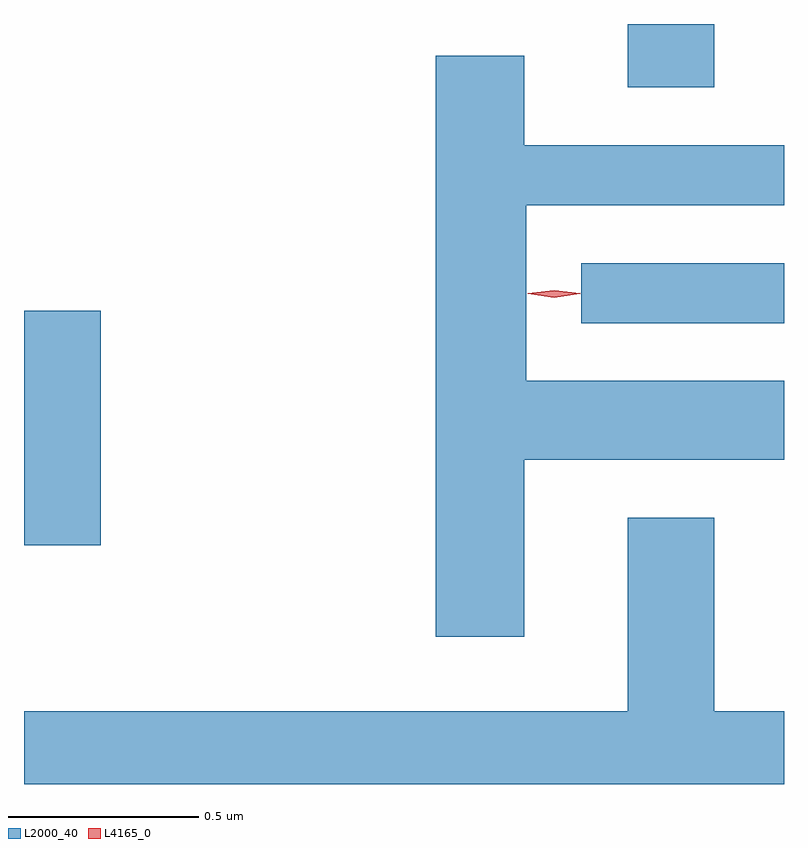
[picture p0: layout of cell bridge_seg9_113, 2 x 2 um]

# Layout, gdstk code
import gdstk
lib = gdstk.Library(unit=1e-6, precision=1e-09)
def R(c, l, rs):  # rectangles x0, y0, x1, y1
    for r in rs: c.add(gdstk.rectangle(r[:2], r[2:], *l))
def P(c, l, *ps):  # polygons
    for p in ps: c.add(gdstk.Polygon(p, *l))
L2000_40 = (2000, 40)
L4165_0 = (4165, 0)

bridge_seg9_113 = lib.new_cell('bridge_seg9_113')
R(bridge_seg9_113, L2000_40, [(1821.122,1968.101,1821.324,1968.719), (1822.588,1968.686,1823.122,1968.844), (1822.711,1969.306,1822.939,1969.473)])
P(bridge_seg9_113, L2000_40, [(1822.439,1968.326),(1823.122,1968.326),(1823.122,1968.534),(1822.444,1968.534),(1822.444,1968.996),(1823.122,1968.996),(1823.122,1969.154),(1822.439,1969.154),(1822.439,1969.389),(1822.206,1969.389),(1822.206,1967.861),(1822.439,1967.861)],
  [(1823.122,1967.664),(1822.939,1967.664),(1822.939,1968.174),(1822.711,1968.174),(1822.711,1967.664),(1821.122,1967.664),(1821.122,1967.473),(1823.122,1967.473)])
P(bridge_seg9_113, L4165_0, [(1822.517,1968.753),(1822.448,1968.763),(1822.447,1968.763),(1822.448,1968.764),(1822.517,1968.773),(1822.586,1968.764),(1822.586,1968.763),(1822.586,1968.763)],
  [(1822.517,1968.753),(1822.451,1968.763),(1822.45,1968.763),(1822.451,1968.764),(1822.517,1968.773),(1822.582,1968.764),(1822.583,1968.763),(1822.582,1968.763)])

lib.write_gds('bridge_seg9_113.gds')
